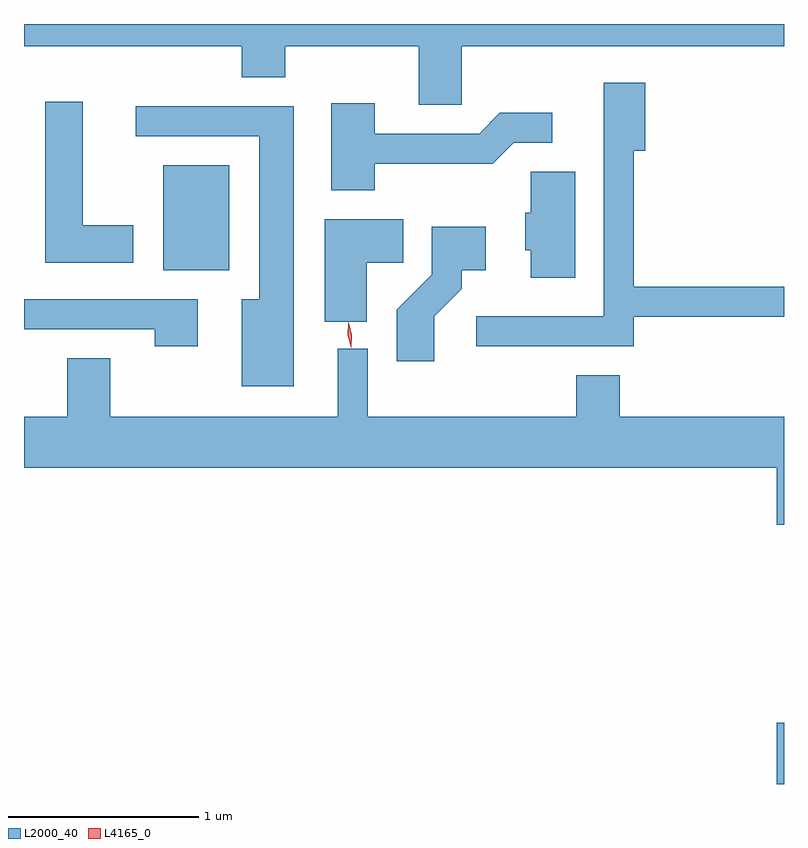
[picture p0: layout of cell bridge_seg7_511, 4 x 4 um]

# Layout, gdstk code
import gdstk
lib = gdstk.Library(unit=1e-6, precision=1e-09)
def R(c, l, rs):  # rectangles x0, y0, x1, y1
    for r in rs: c.add(gdstk.rectangle(r[:2], r[2:], *l))
def P(c, l, *ps):  # polygons
    for p in ps: c.add(gdstk.Polygon(p, *l))
L2000_40 = (2000, 40)
L4165_0 = (4165, 0)

bridge_seg7_511 = lib.new_cell('bridge_seg7_511')
R(bridge_seg7_511, L2000_40, [(834.456,1768.152,834.494,1768.474), (831.226,1770.856,831.574,1771.409)])
P(bridge_seg7_511, L2000_40, [(832.799,1772.036),(834.494,1772.036),(834.494,1772.152),(830.494,1772.152),(830.494,1772.036),(831.641,1772.036),(831.641,1771.871),(831.869,1771.871),(831.869,1772.036),(832.571,1772.036),(832.571,1771.726),(832.799,1771.726)],
  [(833.704,1770.611),(834.494,1770.611),(834.494,1770.769),(833.704,1770.769),(833.704,1771.486),(833.764,1771.486),(833.764,1771.844),(833.546,1771.844),(833.546,1770.614),(832.873,1770.614),(832.873,1770.456),(833.704,1770.456)],
  [(831.069,1771.094),(830.804,1771.094),(830.804,1771.744),(830.606,1771.744),(830.606,1770.896),(831.069,1770.896)],
  [(832.339,1771.416),(832.962,1771.416),(833.072,1771.526),(833.273,1771.526),(833.273,1771.684),(832.999,1771.684),(832.889,1771.574),(832.339,1771.574),(832.339,1771.734),(832.111,1771.734),(832.111,1771.276),(832.339,1771.276)],
  [(831.914,1771.719),(831.083,1771.719),(831.083,1771.561),(831.731,1771.561),(831.731,1770.704),(831.641,1770.704),(831.641,1770.246),(831.914,1770.246)],
  [(833.394,1771.374),(833.161,1771.374),(833.161,1771.159),(833.131,1771.159),(833.131,1770.961),(833.161,1770.961),(833.161,1770.816),(833.394,1770.816)],
  [(832.299,1770.896),(832.489,1770.896),(832.489,1771.124),(832.076,1771.124),(832.076,1770.586),(832.299,1770.586)],
  [(832.654,1770.614),(832.799,1770.759),(832.799,1770.856),(832.924,1770.856),(832.924,1771.084),(832.641,1771.084),(832.641,1770.832),(832.456,1770.647),(832.456,1770.376),(832.654,1770.376)],
  [(831.409,1770.704),(830.494,1770.704),(830.494,1770.546),(831.181,1770.546),(831.181,1770.456),(831.409,1770.456)],
  [(834.494,1770.084),(833.629,1770.084),(833.629,1770.304),(833.401,1770.304),(833.401,1770.084),(832.304,1770.084),(832.304,1770.443),(832.146,1770.443),(832.146,1770.084),(830.949,1770.084),(830.949,1770.394),(830.721,1770.394),(830.721,1770.084),(830.494,1770.084),(830.494,1769.816),(834.456,1769.816),(834.456,1769.516),(834.494,1769.516)])
P(bridge_seg7_511, L4165_0, [(832.216,1770.448),(832.216,1770.448),(832.199,1770.513),(832.201,1770.579),(832.201,1770.58),(832.202,1770.579),(832.219,1770.515),(832.217,1770.448)])

lib.write_gds('bridge_seg7_511.gds')
